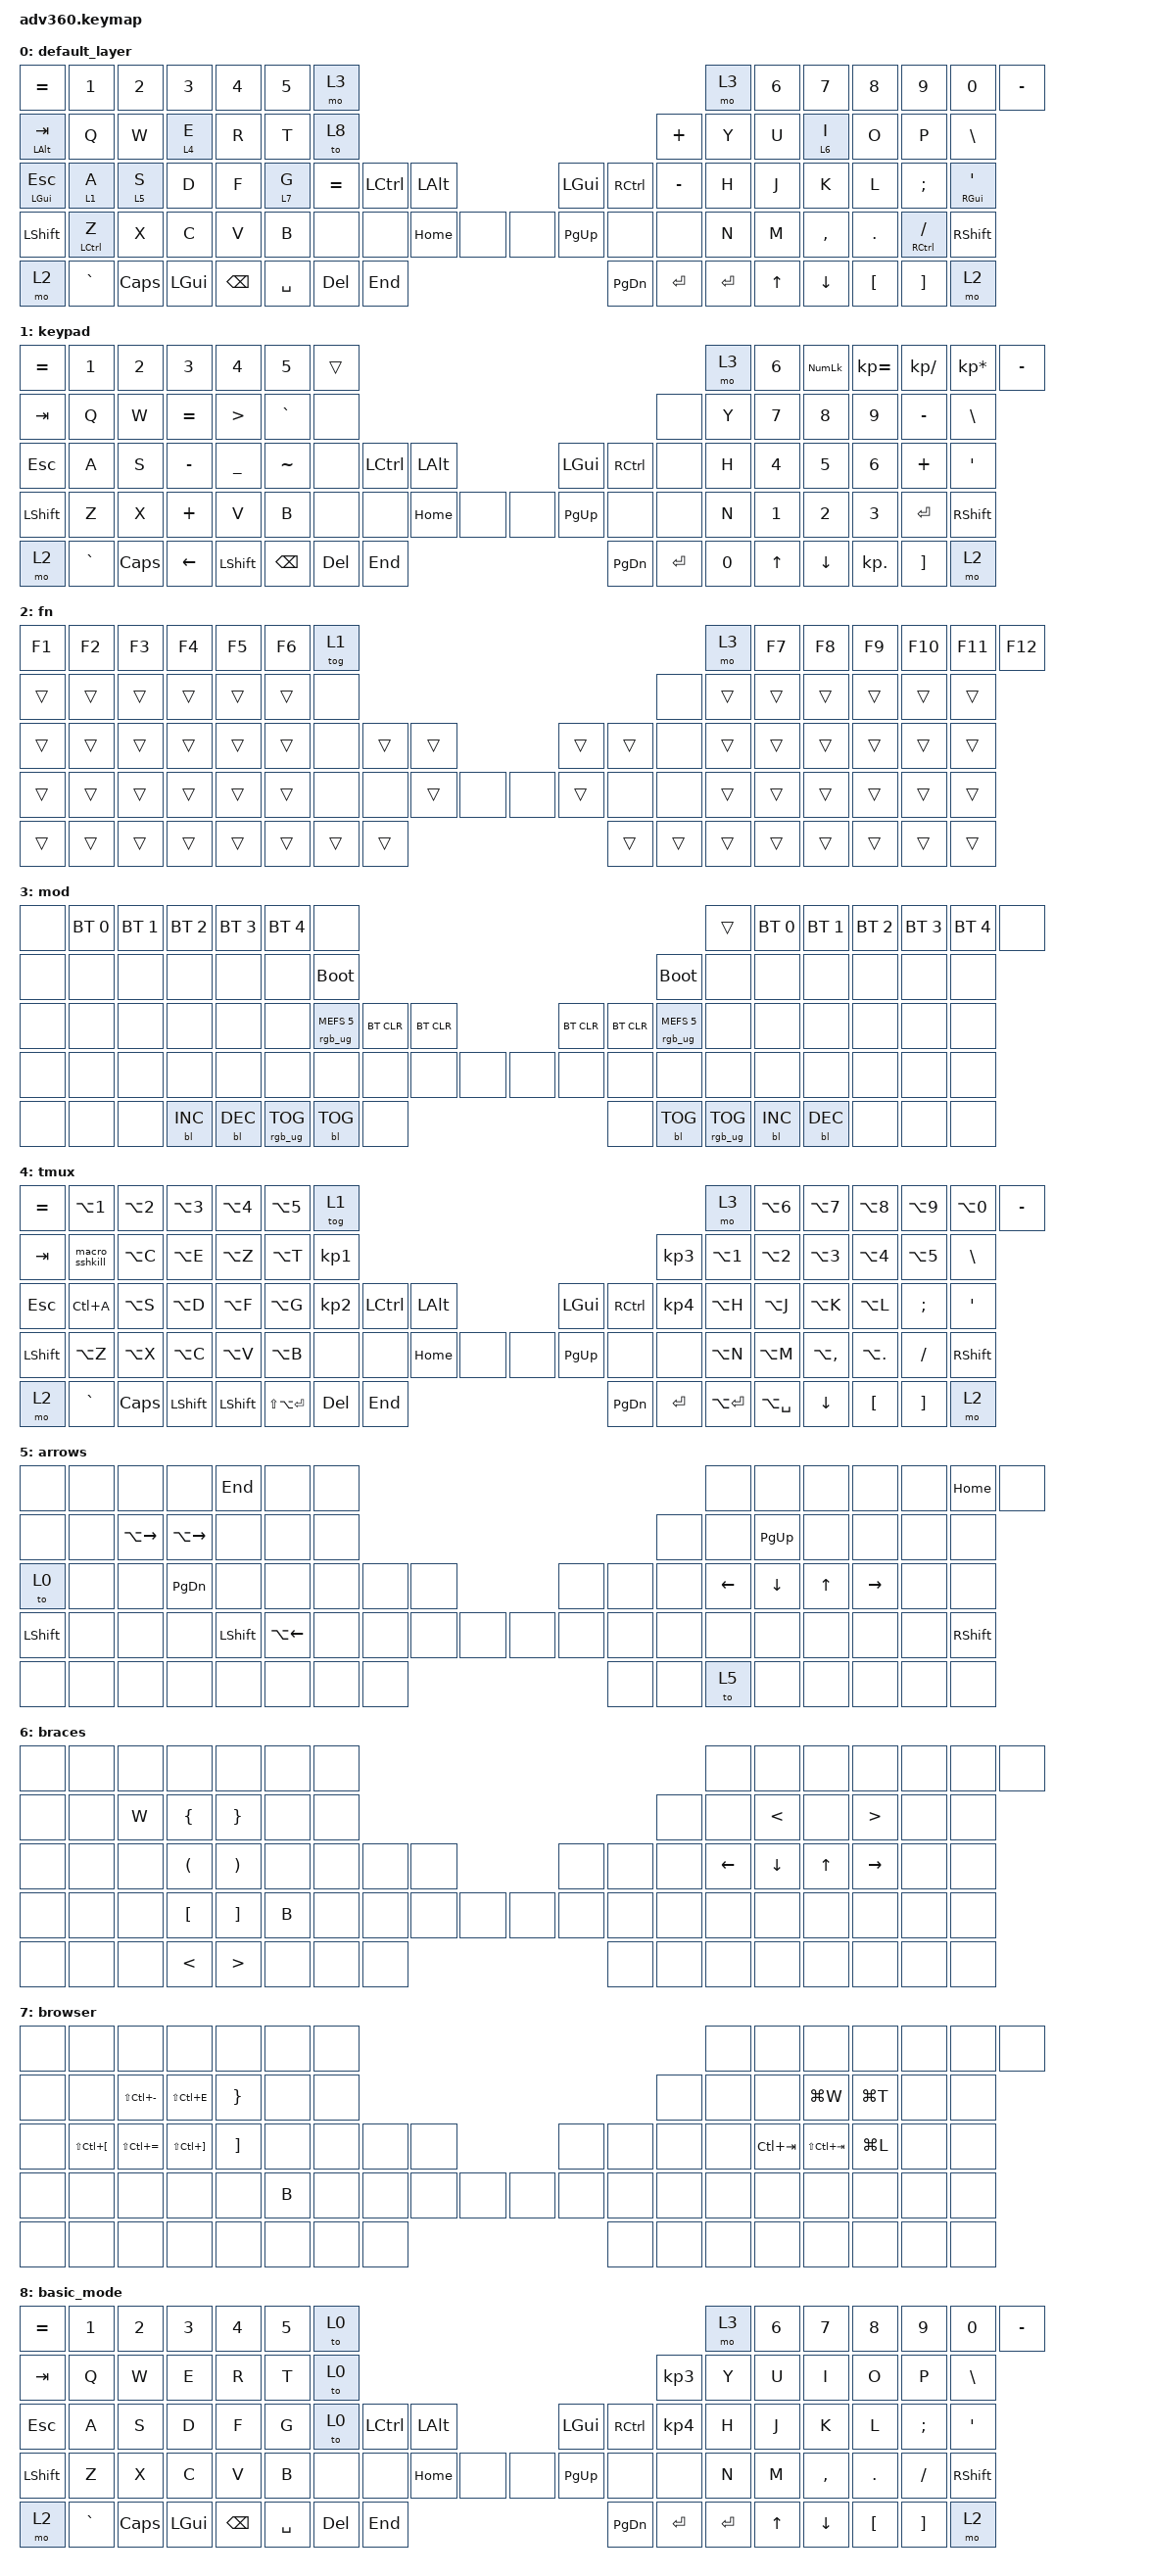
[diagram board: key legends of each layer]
#include <behaviors.dtsi>
#include <dt-bindings/zmk/keys.h>
#include <dt-bindings/zmk/bt.h>
#include <dt-bindings/zmk/rgb.h>
#include <dt-bindings/zmk/backlight.h>

/ {

    behaviors {
      #include "macros.dtsi"

      hm: homerow_mods {
          compatible = "zmk,behavior-hold-tap";
          label = "HOMEROW_MODS";
          #binding-cells = <2>;
          tapping-term-ms = <200>;
          quick_tap_ms = <175>;
          flavor = "tap-preferred";
          bindings = <&kp>, <&kp>;
      };
    };

  combos {
    compatible = "zmk,combos";
    combo_ctrlspc {
      timeout-ms = <30>;
      key-positions = <41 42>;
      bindings = <&kp LC(SPACE)>;
    };
    combo_shiftctrlspc {
      timeout-ms = <30>;
      key-positions = <41 43>;
      bindings = <&kp LS(LC(SPACE))>;
    };
    combo_cmdspc {
      timeout-ms = <30>;
      key-positions = <24 41>;
      bindings = <&kp LG(SPACE)>;
    };
    commbo_meh {
      timeout-ms = <30>;
      key-positions = <49 50>;
      bindings = <&kp LA(LC(LSHFT))>;
    };
  };

  keymap {
    compatible = "zmk,keymap";

    default_layer {
      bindings = <
        &kp EQUAL      &kp N1       &kp N2   &kp N3     &kp N4     &kp N5  &mo 3                                                                       &mo 3   &kp N6   &kp N7   &kp N8    &kp N9   &kp N0   &kp MINUS
        &mt LALT TAB   &kp Q        &kp W    &lt 4 E    &kp R      &kp T   &to 8                                                               &kp PLUS &kp Y  &kp U    &lt 6 I   &kp O    &kp P    &kp BSLH
        &mt LGUI ESC   &lt 1 A      &lt 5 S  &kp D      &kp F      &lt 7 G &kp EQUAL    &kp LCTRL &kp LALT                    &kp LGUI  &kp RCTRL  &kp MINUS &kp H  &kp J  &kp K     &kp L    &kp SEMI &mt RGUI SQT
        &kp LSHFT      &mt LCTRL Z  &kp X    &kp C      &kp V      &kp B        &none     &none     &kp HOME &none &none &kp PG_UP &none     &none            &kp N  &kp M  &kp COMMA &kp DOT  &mt RCTRL FSLH &kp RSHFT
        &mo 2          &kp GRAVE    &kp CAPS &kp LGUI   &kp BKSP               &kp SPACE  &kp DEL   &kp END              &kp PG_DN &kp ENTER &kp ENTER               &kp UP &kp DOWN  &kp LBKT &kp RBKT &mo 2
        >;
    };
    // 1
    keypad {
      bindings = <
        &kp EQUAL &kp N1    &kp N2   &kp N3     &kp N4     &kp N5    &trans                                                                       &mo 3 &kp N6 &kp KP_NUM &kp KP_EQUAL &kp KP_DIVIDE &kp KP_MULTIPLY &kp MINUS
        &kp TAB   &kp Q     &kp W    &kp EQUAL  &kp GT      &kp GRAVE &none                                                                        &none &kp Y  &kp N7  &kp N8    &kp N9     &kp MINUS    &kp BSLH
        &kp ESC   &kp A     &kp S    &kp MINUS  &kp UNDER  &kp TILDE     &none          &kp LCTRL &kp LALT             &kp LGUI  &kp RCTRL            &none &kp H  &kp N4  &kp N5    &kp N6     &kp PLUS     &kp SQT
        &kp LSHFT &kp Z     &kp X    &kp PLUS   &kp V      &kp B        &none    &none     &kp HOME &none &none &kp PG_UP &none     &none            &kp N  &kp N1  &kp N2    &kp N3     &kp ENTER    &kp RSHFT
        &mo 2     &kp GRAVE &kp CAPS &kp LEFT   &kp LSHFT              &kp BKSP &kp DEL   &kp END              &kp PG_DN &kp ENTER &kp N0                  &kp UP     &kp DOWN     &kp KP_DOT    &kp RBKT         &mo 2
      >;
    };
    // 2
    fn {
      bindings = <
        &kp F1  &kp F2 &kp F3 &kp F4 &kp F5 &kp F6 &tog 1                                                          &mo 3 &kp F7  &kp F8 &kp F9 &kp F10 &kp F11 &kp F12
        &trans  &trans &trans &trans &trans &trans  &none                                                          &none &trans  &trans &trans &trans  &trans  &trans
        &trans  &trans &trans &trans &trans &trans  &none        &trans &trans             &trans &trans           &none &trans  &trans &trans &trans  &trans  &trans
        &trans  &trans &trans &trans &trans &trans        &none  &none  &trans &none &none &trans &none  &none            &trans &trans &trans &trans  &trans  &trans
        &trans  &trans &trans &trans &trans               &trans &trans &trans             &trans &trans &trans                  &trans &trans &trans  &trans  &trans
      >;
    };
    // 3
    mod {
      bindings = <
        &none &bt BT_SEL 0 &bt BT_SEL 1 &bt BT_SEL 2 &bt BT_SEL 3 &bt BT_SEL 4 &none                                                                                                  &trans        &bt BT_SEL 0 &bt BT_SEL 1 &bt BT_SEL 2 &bt BT_SEL 3 &bt BT_SEL 4 &none
        &none &none        &none        &none        &none        &none        &bootloader                                                                                            &bootloader   &none        &none        &none        &none        &none        &none
        &none &none        &none        &none        &none        &none        &rgb_ug RGB_MEFS_CMD 5    &bt BT_CLR &bt BT_CLR             &bt BT_CLR &bt BT_CLR         &rgb_ug RGB_MEFS_CMD 5    &none        &none        &none        &none        &none        &none
        &none &none        &none        &none        &none        &none                   &none           &none      &none     &none &none &none      &none      &none                   &none        &none        &none        &none        &none        &none
        &none &none        &none        &bl BL_INC   &bl BL_DEC                           &rgb_ug RGB_TOG &bl BL_TOG &none                 &none      &bl BL_TOG &rgb_ug RGB_TOG                      &bl BL_INC   &bl BL_DEC   &none        &none        &none
      >;
    };
    // 4
    tmux {
      bindings = <
        &kp EQUAL &kp LA(N1)    &kp LA(N2)   &kp LA(N3)   &kp LA(N4)     &kp LA(N5) &tog 1                                                                       &mo 3 &kp LA(N6) &kp LA(N7) &kp LA(N8)    &kp LA(N9)   &kp LA(N0)   &kp MINUS
        &kp TAB   &macro_sshkill     &kp LA(C)    &kp LA(E)    &kp LA(Z)      &kp LA(T)  &kp KP_NUMBER_1                                                      &kp KP_NUMBER_3 &kp LA(N1)  &kp LA(N2)  &kp LA(N3)     &kp LA(N4)    &kp LA(N5)    &kp BSLH
        &kp ESC   &kp LC(A)     &kp LA(S)    &kp LA(D)    &kp LA(F)      &kp LA(G)  &kp KP_NUMBER_2    &kp LCTRL &kp LALT                    &kp LGUI  &kp RCTRL                   &kp KP_NUMBER_4 &kp LA(H)  &kp LA(J)  &kp LA(K)     &kp LA(L)    &kp SEMI &kp SQT
        &kp LSHFT &kp LA(Z)     &kp LA(X)    &kp LA(C)    &kp LA(V)      &kp LA(B)        &none     &none     &kp HOME &none &none &kp PG_UP &none     &none            &kp LA(N)  &kp LA(M)  &kp LA(COMMA) &kp LA(DOT)  &kp FSLH &kp RSHFT
        &mo 2     &kp GRAVE &kp CAPS &kp LSHFT &kp LSHFT               &kp LS(LA(ENTER))  &kp DEL   &kp END              &kp PG_DN &kp ENTER &kp LA(ENTER)               &kp LA(SPACE) &kp DOWN  &kp LBKT &kp RBKT &mo 2
      >;
    };
    // 5
    arrows {
      bindings = <
        &none  &none &none         &none         &kp END &none  &none                                                          &none &none  &none &none &none  &kp HOME  &none
        &none  &none &kp LA(RIGHT) &kp LA(RIGHT) &none &none  &none                                                          &none &none  &kp PG_UP &none &none  &none  &none
        &to 0  &none &none         &kp PG_DN     &none &none  &none        &none &none             &none &none           &none &kp LEFT  &kp DOWN &kp UP &kp RIGHT  &none  &none
        &kp LSHFT  &none &none         &none         &kp LSHFT &kp LA(LEFT)        &none  &none  &none &none &none &none &none  &none            &none &none &none &none  &none  &kp RSHFT
        &none  &none &none         &none         &none               &none &none &none             &none &none &to 5                  &none &none &none  &none  &none
      >;
    };
    // 6
    braces {
      bindings = <
        &none  &none &none &none &none &none  &none                                                          &none &none  &none &none &none  &none  &none
        &none  &none &kp W &kp LBRC &kp RBRC &none  &none                                                          &none &none  &kp LT &none &kp GT  &none  &none
        &none  &none &none &kp LPAR &kp RPAR &none  &none        &none &none             &none &none           &none &kp LEFT  &kp DOWN &kp UP &kp RIGHT  &none  &none
        &none  &none &none &kp LBKT &kp RBKT &kp B        &none  &none  &none &none &none &none &none  &none            &none &none &none &none  &none  &none
        &none  &none &none &kp LT   &kp GT               &none &none &none             &none &none &none                  &none &none &none  &none  &none
      >;
    };
    // 7
    browser {
      bindings = <
        &none  &none &none &none &none &none  &none                                                          &none &none  &none &none &none  &none  &none
        &none  &none &kp LS(LC(MINUS)) &kp LS(LC(E)) &kp RBRC &none  &none                                                          &none &none  &none &kp LG(W) &kp LG(T)  &none  &none
        &none  &kp LS(LC(LBKT)) &kp LS(LC(EQUAL)) &kp LS(LC(RBKT)) &kp RBKT &none  &none        &none &none             &none &none           &none &none &kp LC(TAB) &kp LS(LC(TAB)) &kp LG(L)  &none  &none
        &none  &none &none &none &none &kp B        &none  &none  &none &none &none &none &none  &none            &none &none &none &none  &none  &none
        &none  &none &none &none &none               &none &none &none             &none &none &none                  &none &none &none  &none  &none
      >;
    };
    // 8
    basic_mode {
      bindings = <
        &kp EQUAL &kp N1    &kp N2   &kp N3   &kp N4     &kp N5 &to 0                                                                       &mo 3 &kp N6 &kp N7 &kp N8    &kp N9   &kp N0   &kp MINUS
        &kp TAB   &kp Q     &kp W    &kp E    &kp R      &kp T  &to 0                                                      &kp KP_NUMBER_3 &kp Y  &kp U  &kp I     &kp O    &kp P    &kp BSLH
        &kp ESC   &kp A     &kp S    &kp D    &kp F      &kp G  &to 0    &kp LCTRL &kp LALT                    &kp LGUI  &kp RCTRL                   &kp KP_NUMBER_4 &kp H  &kp J  &kp K     &kp L    &kp SEMI &kp SQT
        &kp LSHFT &kp Z     &kp X    &kp C    &kp V      &kp B        &none     &none     &kp HOME &none &none &kp PG_UP &none     &none            &kp N  &kp M  &kp COMMA &kp DOT  &kp FSLH &kp RSHFT
        &mo 2          &kp GRAVE    &kp CAPS &kp LGUI   &kp BKSP               &kp SPACE  &kp DEL   &kp END              &kp PG_DN &kp ENTER &kp ENTER               &kp UP &kp DOWN  &kp LBKT &kp RBKT &mo 2
        >;
    };
  };
};
